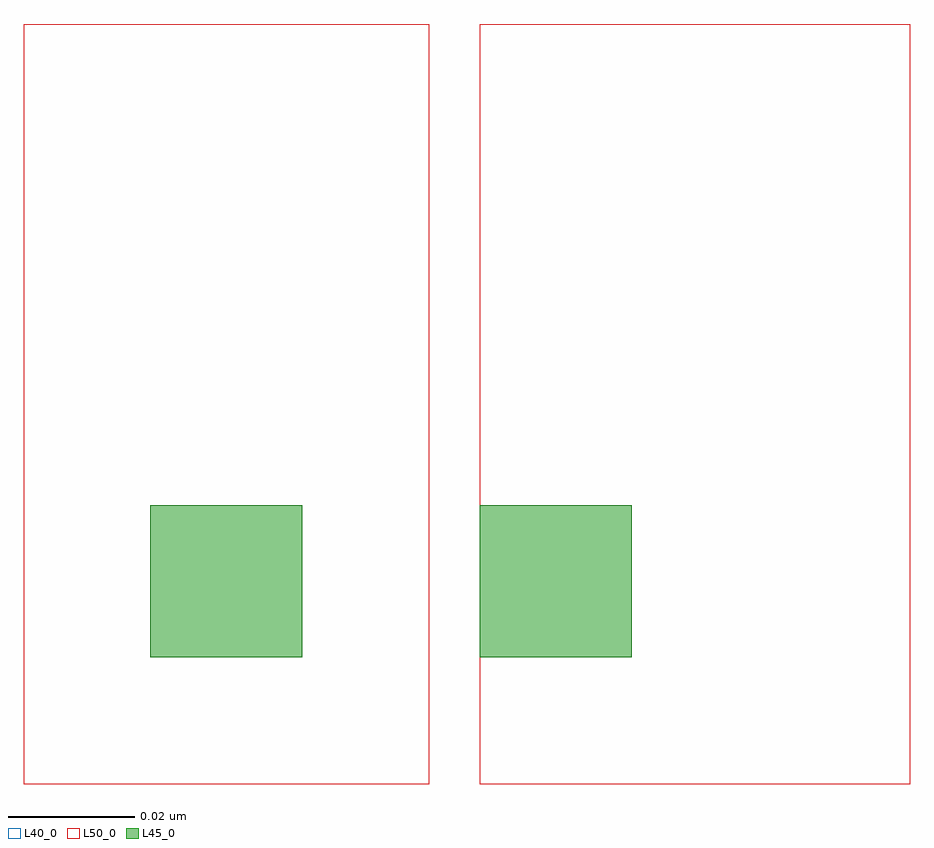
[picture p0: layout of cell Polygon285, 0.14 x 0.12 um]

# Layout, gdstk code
import gdstk
lib = gdstk.Library(unit=1e-6, precision=2.5e-10)
def R(c, l, rs):  # rectangles x0, y0, x1, y1
    for r in rs: c.add(gdstk.rectangle(r[:2], r[2:], *l))
L40_0 = (40, 0)
L45_0 = (45, 0)
L50_0 = (50, 0)

polygon285 = lib.new_cell('Polygon285')
R(polygon285, L40_0, [(-0.02,-0.02,0.044,0.1), (0.052,-0.02,0.12,0.1)])
R(polygon285, L45_0, [(0,0,0.024,0.024), (0.052,0,0.076,0.024)])
R(polygon285, L50_0, [(-0.02,-0.02,0.044,0.1), (0.052,-0.02,0.12,0.1)])

lib.write_gds('Polygon285.gds')
